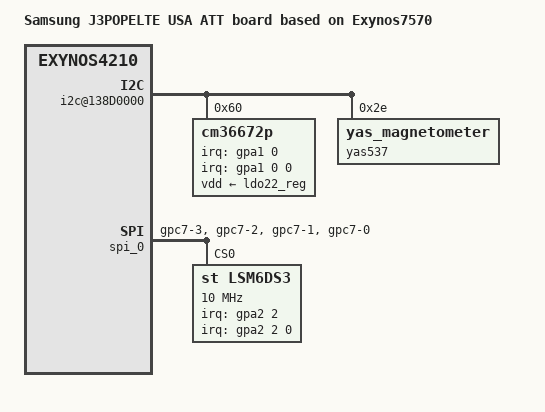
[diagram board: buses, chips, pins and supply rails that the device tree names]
/*
 * SAMSUNG UNIVERSAL7570 board device tree source
 *
 * Copyright (c) 2013 Samsung Electronics Co., Ltd.
 *		http://www.samsung.com
 *
 * This program is free software; you can redistribute it and/or modify
 * it under the terms of the GNU General Public License version 2 as
 * published by the Free Software Foundation.
*/

/dts-v1/;
#include "exynos7570-rmem.dtsi"
#include "exynos7570-j3pope_common.dtsi"
#include "modem-ss305ap-pdata.dtsi"
#include "exynos7570-j3popelte_battery_05.dtsi"
#include "exynos7570-j3popelte_usa_att_gpio_00.dtsi"

/ {
	model = "Samsung J3POPELTE USA ATT board based on Exynos7570";
        model_info-chip = <7570>;
        model_info-platform = "android";
        model_info-subtype = "samsung";
        model_info-hw_rev = <5>;
        model_info-hw_rev_end = <255>;
	compatible = "samsung,exynos7570", "samsung,exynos4210";

	pinctrl@139B0000 {
		fm_lna_en: fm-lna-en {
			samsung,pins = "gpd1-0";
			samsung,pin-function = <1>;
			samsung,pin-pud = <0>;
			samsung,pin-val = <0>;
		};
	};

	fm_gpio: fm@14840000 {
		elna_gpio = <&gpd1 0 0x1>; /* FM_LNA_EN */
		pinctrl-names = "default";
		pinctrl-0 = <&fm_lna_en>;
		fm_iclk_aux = <0>;
		fm_tc_on = <0>;
		status = "okay";
	};

	i2c@138D0000 {
		samsung,i2c-sda-delay = <100>;
		samsung,i2c-max-bus-freq = <400000>;
		status = "okay";
		#address-cells = <1>;
		#size-cells = <0>;
		pinctrl-names = "default";

		cm36672p@60 {
			compatible = "cm36672p";
			reg = <0x60>;
			pinctrl-names = "default";
			pinctrl-0 = <&prox_int>;
			interrupt-parent = <&gpa1>;
			interrupts = <0 0 0>;
			cm36672p,irq_gpio = <&gpa1 0 0>;
			cm36672p,vdd-supply = <&ldo22_reg>;
			cm36672p,vdd_always_on = <1>;
			cm36672p,regulator_divided = <1>;
			cm36672p,default_hi_thd = <17>;
			cm36672p,default_low_thd = <12>;
			cm36672p,cancel_hi_thd = <10>;
			cm36672p,cancel_low_thd = <7>;
			cm36672p,offset_range_hi = <21>;
			cm36672p,offset_range_low = <11>;
			cm36672p,default_trim = <0>;
			cm36672p,ps_duty = <2>;
			cm36672p,ps_pers = <2>;
			cm36672p,ps_it = <5>;
			cm36672p,led_current = <5>;
			cm36672p,ps_smart_pers = <1>;
		};
		yas537@2e {
			compatible = "yas_magnetometer";
			reg = <0x2e>;
			yas,orientation = <7>;
			yas,softiron = <10000 0 0 0 10000 0 0 0 10000>;
			yas,softiron_sign = <2 1 1 1 2 1 1 1 2>;
		};
	};

	pinctrl@139E0000 {
		gpc7: gpc7 {
			gpio-controller;
			#gpio-cells = <2>;

			interrupt-controller;
			#interrupt-cells = <2>;
		};

		spi0_bus: spi0-bus {
			samsung,pins = "gpc7-3", "gpc7-2", "gpc7-1", "gpc7-0";
			samsung,pin-function = <2>;
			samsung,pin-pud = <3>;
			samsung,pin-drv = <2>;
		};
	};

	spi_0: spi@100C0000 {
		status = "okay";
		#address-cells = <1>;
		#size-cells = <0>;
		pinctrl-names = "default";
		pinctrl-0 = <&spi0_bus>;

		lsm6ds3@0 {
			compatible = "st,lsm6ds3";
			reg = <0>;
			spi-max-frequency = <10000000>;
			spi-cpol;
			spi-cpha;
			pinctrl-names = "default";
			pinctrl-0 = <&gyro_int>;
 			interrupt-parent = <&gpa2>;
			interrupts = <2 0 0>;
			st,orientation = <1 0 1 0 1 1 1 1 0>;
			st,drdy-int-pin = <1>;
			st,irq_gpio = <&gpa2 2 0>;

			gpio-controller;
			#gpio-cells = <2>;

			controller-data {
				samsung,spi-feedback-delay = <0>;
				samsung,spi-chip-select-mode = <0>;
			};
		};
	};

	pinctrl@139F0000 {
		gyro_int: gyro_int {
			samsung,pins = "gpa2-2";
			samsung,pin-function = <0>;
			samsung,pin-pud = <0>;
			samsung,pin-drv = <0>;
		};

		prox_int: prox_int {
			samsung,pins = "gpa1-0";
			samsung,pin-function = <0x1>;
			samsung,pin-pud = <0>;
			samsung,pin-drv = <0>;
		};
	};

	speedy@10510000 {
		status = "okay";

		fimc_is_flash@06 {
			compatible = "samsung,sensor-flash-i2c";
			reg = <0x06>;
			id = <0>;
			flash-gpio = <&gpa0 0 0>;
			flash_current = <1000>;
			preflash_current = <160>;
			movie_current = <160>;
			torch_current = <80>;
			factory_current = <160>;
			i2c-speedy-address;
		};
	};
};
